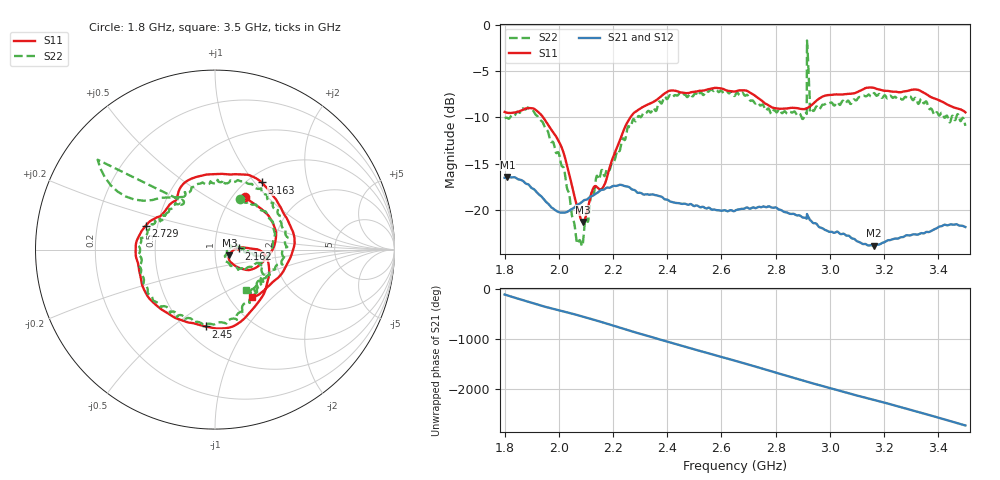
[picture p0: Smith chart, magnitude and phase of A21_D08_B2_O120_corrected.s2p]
! Created with skrf 1.9.0 (http://scikit-rf.org).
# Hz S RI R 50.0
!freq ReS11 ImS11 ReS21 ImS21 ReS12 ImS12 ReS22 ImS22
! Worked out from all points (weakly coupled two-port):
!   1601 points, 1.8 GHz to 3.5 GHz, reference 50 ohm
!   highest |S21| = -16.46 dB at 1.811 GHz (marker M1); lowest = -23.9 dB at 3.162 GHz (marker M2)
!   lowest |S11| = -21.3 dB at 2.09 GHz (marker M3), VSWR 1.19, Z = 58.6 - j3.66 ohm
!   |S11| at or under -10 dB: 1.942 GHz to 2.264 GHz (322 MHz wide, 15.3 % of centre)
!   |S22| runs from -23.9 to -1.7 dB; largest |S21 - S12| = 0.0029
!   S11 on the Smith chart (normalised r, x): 1.8 GHz: 1.13, +0.75; 2.162 GHz: 1.30, +0.02; 2.45 GHz: 0.63, -0.66; 2.729 GHz: 0.43, +0.14; 3.163 GHz: 1.15, +1.09; 3.5 GHz: 1.27, -0.76
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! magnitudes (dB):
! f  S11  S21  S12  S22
! 1.8 GHz  -9.4  -16.5  -16.6  -10.1
! 1.811 GHz  -9.5  -16.5  -16.5  -10.1
! 1.887 GHz  -9.0  -17.2  -17.3  -9.0
! 1.94 GHz  -9.9  -18.7  -18.7  -10.5
! 2.013 GHz  -13.4  -20.3  -20.3  -15.3
! 2.065 GHz  -19.4  -19.6  -19.6  -23.2
! 2.084 GHz  -21.2  -19.2  -19.2  -23.8
! 2.09 GHz  -21.3  -19.0  -19.1  -23.3
! 2.128 GHz  -17.6  -18.4  -18.4  -18.4
! 2.162 GHz  -17.6  -17.8  -17.8  -15.9
! 2.26 GHz  -10.2  -17.6  -17.6  -11.0
! 2.367 GHz  -8.0  -18.5  -18.5  -8.5
! 2.45 GHz  -7.3  -19.3  -19.3  -7.5
! 2.65 GHz  -7.2  -20.1  -20.1  -7.7
! 2.729 GHz  -7.8  -19.8  -19.8  -8.5
! 2.901 GHz  -9.1  -20.8  -20.9  -10.2
! 2.924 GHz  -8.9  -21.0  -20.9  -7.0
! 2.934 GHz  -8.7  -21.3  -21.3  -9.1
! 3.162 GHz  -6.8  -23.9  -23.8  -7.4
! 3.163 GHz  -6.8  -23.9  -23.8  -7.4
! 3.217 GHz  -7.2  -23.3  -23.3  -7.8
! 3.5 GHz  -9.5  -21.9  -21.9  -10.9
